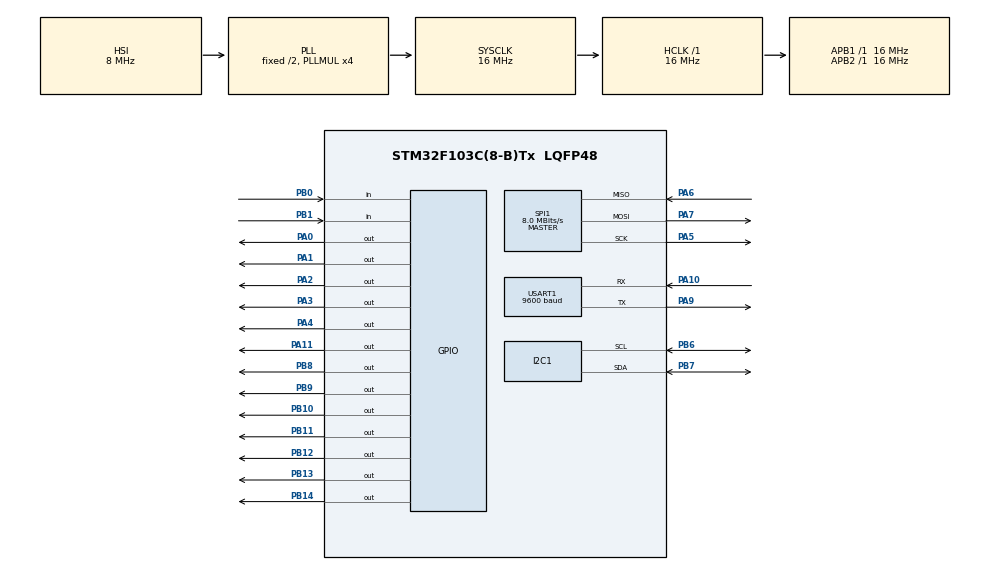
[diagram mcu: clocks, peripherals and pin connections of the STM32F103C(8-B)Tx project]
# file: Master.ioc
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Mcu.Family=STM32F1
Mcu.Name=STM32F103C(8-B)Tx
Mcu.Package=LQFP48
NVIC.PriorityGroup=NVIC_PRIORITYGROUP_4
NVIC.USART1_IRQn=true\:0\:0\:false\:false\:true\:true\:true\:true
PA0-WKUP.Signal=GPIO_Output
PA1.Signal=GPIO_Output
PA10.Mode=Asynchronous
PA10.Signal=USART1_RX
PA11.Signal=GPIO_Output
PA13.Mode=Serial_Wire
PA13.Signal=SYS_JTMS-SWDIO
PA14.Mode=Serial_Wire
PA14.Signal=SYS_JTCK-SWCLK
PA2.Signal=GPIO_Output
PA3.Signal=GPIO_Output
PA4.Signal=GPIO_Output
PA5.Mode=Full_Duplex_Master
PA5.Signal=SPI1_SCK
PA6.Mode=Full_Duplex_Master
PA6.Signal=SPI1_MISO
PA7.Mode=Full_Duplex_Master
PA7.Signal=SPI1_MOSI
PA9.Mode=Asynchronous
PA9.Signal=USART1_TX
PB0.GPIO_PuPd=GPIO_PULLUP
PB0.Signal=GPIO_Input
PB1.GPIO_PuPd=GPIO_PULLUP
PB1.Signal=GPIO_Input
PB10.Signal=GPIO_Output
PB11.Signal=GPIO_Output
PB12.Signal=GPIO_Output
PB13.Signal=GPIO_Output
PB14.Signal=GPIO_Output
PB6.Mode=I2C
PB6.Signal=I2C1_SCL
PB7.Mode=I2C
PB7.Signal=I2C1_SDA
PB8.Signal=GPIO_Output
PB9.Signal=GPIO_Output
ProjectManager.HeapSize=0x200
ProjectManager.StackSize=0x400
ProjectManager.TargetToolchain=STM32CubeIDE
RCC.AHBFreq_Value=16000000
RCC.APB1Freq_Value=16000000
RCC.APB1TimFreq_Value=16000000
RCC.APB2Freq_Value=16000000
RCC.APB2TimFreq_Value=16000000
RCC.HCLKFreq_Value=16000000
RCC.PLLMUL=RCC_PLL_MUL4
RCC.SYSCLKFreq_VALUE=16000000
RCC.SYSCLKSource=RCC_SYSCLKSOURCE_PLLCLK
RCC.USBFreq_Value=16000000
SPI1.CalculateBaudRate=8.0 MBits/s
SPI1.Direction=SPI_DIRECTION_2LINES
SPI1.Mode=SPI_MODE_MASTER
SPI1.VirtualType=VM_MASTER
USART1.BaudRate=9600
USART1.VirtualMode=VM_ASYNC
board=custom

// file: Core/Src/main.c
/* USER CODE BEGIN Header */
/**
  ******************************************************************************
  * @file           : main.c
  * @brief          : Main program body
  ******************************************************************************
  * @attention
  *
  * Copyright (c) 2025 STMicroelectronics.
  * All rights reserved.
  *
  * This software is licensed under terms that can be found in the LICENSE file
  * in the root directory of this software component.
  * If no LICENSE file comes with this software, it is provided AS-IS.
  *
  ******************************************************************************
  */
/* USER CODE END Header */
#include "main.h"

/* USER CODE BEGIN Includes */
#include "CLCD_I2C.h"
#include "RC522.h"
#include "Stepper.h"
/* USER CODE END Includes */

/* USER CODE BEGIN PD */
#define RS485_TX_MODE() HAL_GPIO_WritePin(GPIOA, GPIO_PIN_11, GPIO_PIN_SET) // DE = RE = 1
#define RS485_RX_MODE() HAL_GPIO_WritePin(GPIOA, GPIO_PIN_11, GPIO_PIN_RESET) // DE = RE = 0

#define MASTER_ID 0x00
/* USER CODE END PD */

I2C_HandleTypeDef hi2c1;

SPI_HandleTypeDef hspi1;

UART_HandleTypeDef huart1;

/* USER CODE BEGIN PV */
CLCD_I2C_Name LCD1;
MFRC522_Name RFID1;
Stepper_Handle_t STEPPER1;

/* USER CODE END PV */

void SystemClock_Config(void);
static void MX_GPIO_Init(void);
static void MX_I2C1_Init(void);
static void MX_SPI1_Init(void);
static void MX_USART1_UART_Init(void);

/* USER CODE BEGIN 0 */
uint8_t slave_id[3] = {0x01, 0x02, 0x03};
uint8_t slave_data[3] = {0};
uint8_t data_changes;
uint8_t rx_buf[2];

void RS485_SendRequest(uint8_t data)
{
	uint8_t frame[2];
	frame[0] = MASTER_ID;
	frame[1] = data;
	RS485_TX_MODE();
	HAL_Delay(5);
	HAL_UART_Transmit(&huart1, frame, 2, 100);
	HAL_Delay(5);
	RS485_RX_MODE();
}

void HAL_UART_RxCpltCallback(UART_HandleTypeDef *huart)
{
	if (huart == &huart1)
	{
		data_changes = 1;
		if (rx_buf[0] == slave_id[0])
			slave_data[0] = rx_buf[1];
		else if (rx_buf[0] == slave_id[1])
			slave_data[1] = rx_buf[1];
		else if (rx_buf[0] == slave_id[2])
			slave_data[2] = rx_buf[1];

		HAL_UART_Receive_IT(&huart1, rx_buf, 2);
	}
}

void Display_LCD()
{
	CLCD_I2C_SetCursor(&LCD1, 0, 0);
	CLCD_I2C_WriteString(&LCD1, "Con trong: ");
	CLCD_I2C_WriteChar(&LCD1, (slave_data[0] + slave_data[1] + slave_data[2] + '0'));
	CLCD_I2C_WriteString(&LCD1, " cho");
}

void Display_7seg (uint8_t data)
{
	uint8_t code_7seg[10] = {0xC0, 0xF9, 0xA4, 0xB0, 0x99, 0x92, 0x82, 0xF8, 0x80, 0x90};
	uint8_t v = code_7seg[data];
	HAL_GPIO_WritePin(GPIOB, GPIO_PIN_8,  (v & 0x01) ? GPIO_PIN_SET : GPIO_PIN_RESET);
	HAL_GPIO_WritePin(GPIOB, GPIO_PIN_9,  (v & 0x02) ? GPIO_PIN_SET : GPIO_PIN_RESET);
	HAL_GPIO_WritePin(GPIOB, GPIO_PIN_10, (v & 0x04) ? GPIO_PIN_SET : GPIO_PIN_RESET);
	HAL_GPIO_WritePin(GPIOB, GPIO_PIN_11, (v & 0x08) ? GPIO_PIN_SET : GPIO_PIN_RESET);
	HAL_GPIO_WritePin(GPIOB, GPIO_PIN_12, (v & 0x10) ? GPIO_PIN_SET : GPIO_PIN_RESET);
	HAL_GPIO_WritePin(GPIOB, GPIO_PIN_13, (v & 0x20) ? GPIO_PIN_SET : GPIO_PIN_RESET);
	HAL_GPIO_WritePin(GPIOB, GPIO_PIN_14, (v & 0x40) ? GPIO_PIN_SET : GPIO_PIN_RESET);
}

void Check_in()
{
	if (HAL_GPIO_ReadPin(GPIOB, GPIO_PIN_0) == GPIO_PIN_RESET)
	{
		CLCD_I2C_SetCursor(&LCD1, 0, 1);
		CLCD_I2C_WriteString(&LCD1, "Co xe");
		int card_ok = 0;
		uint8_t uid[4];
		while (HAL_GPIO_ReadPin(GPIOB, GPIO_PIN_0) == GPIO_PIN_RESET)
		{
			if (MFRC522_Check(&RFID1, uid) == MI_OK)
			{
				CLCD_I2C_SetCursor(&LCD1, 0, 1);
				CLCD_I2C_WriteString(&LCD1, "Phat hien the");
				card_ok = 1;
				break;
			}
		}
		if (card_ok)
		{
			Stepper_RotateAngle(&STEPPER1, 90);
			CLCD_I2C_SetCursor(&LCD1, 0, 1);
			CLCD_I2C_WriteString(&LCD1, "Cho xe di qua");
			while (HAL_GPIO_ReadPin(GPIOB, GPIO_PIN_0) == GPIO_PIN_RESET);
			Stepper_RotateAngle(&STEPPER1, -90);
		}
		CLCD_I2C_SetCursor(&LCD1, 0, 1);
		CLCD_I2C_WriteString(&LCD1, "                ");
	}
}
/* USER CODE END 0 */

int main(void)
{

  /* MCU Configuration--------------------------------------------------------*/

  /* Reset of all peripherals, Initializes the Flash interface and the Systick. */
  HAL_Init();

  /* Configure the system clock */
  SystemClock_Config();

  /* Initialize all configured peripherals */
  MX_GPIO_Init();
  MX_I2C1_Init();
  MX_SPI1_Init();
  MX_USART1_UART_Init();
  /* USER CODE BEGIN 2 */
  CLCD_I2C_Init(&LCD1, &hi2c1, 0x4e, 16, 2);
  MFRC522_Init(&RFID1, &hspi1, GPIOA, GPIO_PIN_4);
  Stepper_Init(&STEPPER1, GPIOA, GPIO_PIN_3, GPIOA, GPIO_PIN_2, GPIOA, GPIO_PIN_1, GPIOA, GPIO_PIN_0, 4096);
  Display_LCD();
  /* USER CODE END 2 */

  /* Infinite loop */
  /* USER CODE BEGIN WHILE */
  HAL_UART_Receive_IT(&huart1, rx_buf, 2);
  data_changes = 0;
  uint8_t index = 0;
  static uint32_t last_send = 0;
  //slave_data[3] = {0};
  while (1)
  {
	  if (HAL_GetTick() - last_send >= 1000)
	  {
		  last_send = HAL_GetTick();
		  RS485_SendRequest(slave_id[index]);
		  index = (index + 1) % 3;
		  Display_LCD();
		  Display_7seg(slave_data[0] + slave_data[1] + slave_data[2]);
	  }
    /* USER CODE END WHILE */

    /* USER CODE BEGIN 3 */
	  Check_in();

  }
  /* USER CODE END 3 */
}

void SystemClock_Config(void)
{
  RCC_OscInitTypeDef RCC_OscInitStruct = {0};
  RCC_ClkInitTypeDef RCC_ClkInitStruct = {0};

  /** Initializes the RCC Oscillators according to the specified parameters
  * in the RCC_OscInitTypeDef structure.
  */
  RCC_OscInitStruct.OscillatorType = RCC_OSCILLATORTYPE_HSI;
  RCC_OscInitStruct.HSIState = RCC_HSI_ON;
  RCC_OscInitStruct.HSICalibrationValue = RCC_HSICALIBRATION_DEFAULT;
  RCC_OscInitStruct.PLL.PLLState = RCC_PLL_ON;
  RCC_OscInitStruct.PLL.PLLSource = RCC_PLLSOURCE_HSI_DIV2;
  RCC_OscInitStruct.PLL.PLLMUL = RCC_PLL_MUL4;
  if (HAL_RCC_OscConfig(&RCC_OscInitStruct) != HAL_OK)
  {
    Error_Handler();
  }

  /** Initializes the CPU, AHB and APB buses clocks
  */
  RCC_ClkInitStruct.ClockType = RCC_CLOCKTYPE_HCLK|RCC_CLOCKTYPE_SYSCLK
                              |RCC_CLOCKTYPE_PCLK1|RCC_CLOCKTYPE_PCLK2;
  RCC_ClkInitStruct.SYSCLKSource = RCC_SYSCLKSOURCE_PLLCLK;
  RCC_ClkInitStruct.AHBCLKDivider = RCC_SYSCLK_DIV1;
  RCC_ClkInitStruct.APB1CLKDivider = RCC_HCLK_DIV1;
  RCC_ClkInitStruct.APB2CLKDivider = RCC_HCLK_DIV1;

  if (HAL_RCC_ClockConfig(&RCC_ClkInitStruct, FLASH_LATENCY_0) != HAL_OK)
  {
    Error_Handler();
  }
}

static void MX_I2C1_Init(void)
{

  hi2c1.Instance = I2C1;
  hi2c1.Init.ClockSpeed = 100000;
  hi2c1.Init.DutyCycle = I2C_DUTYCYCLE_2;
  hi2c1.Init.OwnAddress1 = 0;
  hi2c1.Init.AddressingMode = I2C_ADDRESSINGMODE_7BIT;
  hi2c1.Init.DualAddressMode = I2C_DUALADDRESS_DISABLE;
  hi2c1.Init.OwnAddress2 = 0;
  hi2c1.Init.GeneralCallMode = I2C_GENERALCALL_DISABLE;
  hi2c1.Init.NoStretchMode = I2C_NOSTRETCH_DISABLE;
  if (HAL_I2C_Init(&hi2c1) != HAL_OK)
  {
    Error_Handler();
  }

}

static void MX_SPI1_Init(void)
{

  /* SPI1 parameter configuration*/
  hspi1.Instance = SPI1;
  hspi1.Init.Mode = SPI_MODE_MASTER;
  hspi1.Init.Direction = SPI_DIRECTION_2LINES;
  hspi1.Init.DataSize = SPI_DATASIZE_8BIT;
  hspi1.Init.CLKPolarity = SPI_POLARITY_LOW;
  hspi1.Init.CLKPhase = SPI_PHASE_1EDGE;
  hspi1.Init.NSS = SPI_NSS_SOFT;
  hspi1.Init.BaudRatePrescaler = SPI_BAUDRATEPRESCALER_2;
  hspi1.Init.FirstBit = SPI_FIRSTBIT_MSB;
  hspi1.Init.TIMode = SPI_TIMODE_DISABLE;
  hspi1.Init.CRCCalculation = SPI_CRCCALCULATION_DISABLE;
  hspi1.Init.CRCPolynomial = 10;
  if (HAL_SPI_Init(&hspi1) != HAL_OK)
  {
    Error_Handler();
  }

}

static void MX_USART1_UART_Init(void)
{

  huart1.Instance = USART1;
  huart1.Init.BaudRate = 9600;
  huart1.Init.WordLength = UART_WORDLENGTH_8B;
  huart1.Init.StopBits = UART_STOPBITS_1;
  huart1.Init.Parity = UART_PARITY_NONE;
  huart1.Init.Mode = UART_MODE_TX_RX;
  huart1.Init.HwFlowCtl = UART_HWCONTROL_NONE;
  huart1.Init.OverSampling = UART_OVERSAMPLING_16;
  if (HAL_UART_Init(&huart1) != HAL_OK)
  {
    Error_Handler();
  }

}

static void MX_GPIO_Init(void)
{
  GPIO_InitTypeDef GPIO_InitStruct = {0};

  /* GPIO Ports Clock Enable */
  __HAL_RCC_GPIOA_CLK_ENABLE();
  __HAL_RCC_GPIOB_CLK_ENABLE();

  /*Configure GPIO pin Output Level */
  HAL_GPIO_WritePin(GPIOA, GPIO_PIN_0|GPIO_PIN_1|GPIO_PIN_2|GPIO_PIN_3
                          |GPIO_PIN_4|GPIO_PIN_11, GPIO_PIN_RESET);

  /*Configure GPIO pin Output Level */
  HAL_GPIO_WritePin(GPIOB, GPIO_PIN_10|GPIO_PIN_11|GPIO_PIN_12|GPIO_PIN_13
                          |GPIO_PIN_14|GPIO_PIN_8|GPIO_PIN_9, GPIO_PIN_RESET);

  /*Configure GPIO pins : PA0 PA1 PA2 PA3
                           PA4 PA11 */
  GPIO_InitStruct.Pin = GPIO_PIN_0|GPIO_PIN_1|GPIO_PIN_2|GPIO_PIN_3
                          |GPIO_PIN_4|GPIO_PIN_11;
  GPIO_InitStruct.Mode = GPIO_MODE_OUTPUT_PP;
  GPIO_InitStruct.Pull = GPIO_NOPULL;
  GPIO_InitStruct.Speed = GPIO_SPEED_FREQ_LOW;
  HAL_GPIO_Init(GPIOA, &GPIO_InitStruct);

  /*Configure GPIO pins : PB0 PB1 */
  GPIO_InitStruct.Pin = GPIO_PIN_0|GPIO_PIN_1;
  GPIO_InitStruct.Mode = GPIO_MODE_INPUT;
  GPIO_InitStruct.Pull = GPIO_PULLUP;
  HAL_GPIO_Init(GPIOB, &GPIO_InitStruct);

  /*Configure GPIO pins : PB10 PB11 PB12 PB13
                           PB14 PB8 PB9 */
  GPIO_InitStruct.Pin = GPIO_PIN_10|GPIO_PIN_11|GPIO_PIN_12|GPIO_PIN_13
                          |GPIO_PIN_14|GPIO_PIN_8|GPIO_PIN_9;
  GPIO_InitStruct.Mode = GPIO_MODE_OUTPUT_PP;
  GPIO_InitStruct.Pull = GPIO_NOPULL;
  GPIO_InitStruct.Speed = GPIO_SPEED_FREQ_LOW;
  HAL_GPIO_Init(GPIOB, &GPIO_InitStruct);

}

void Error_Handler(void)
{
  __disable_irq();
  while (1)
  {
  }
}
